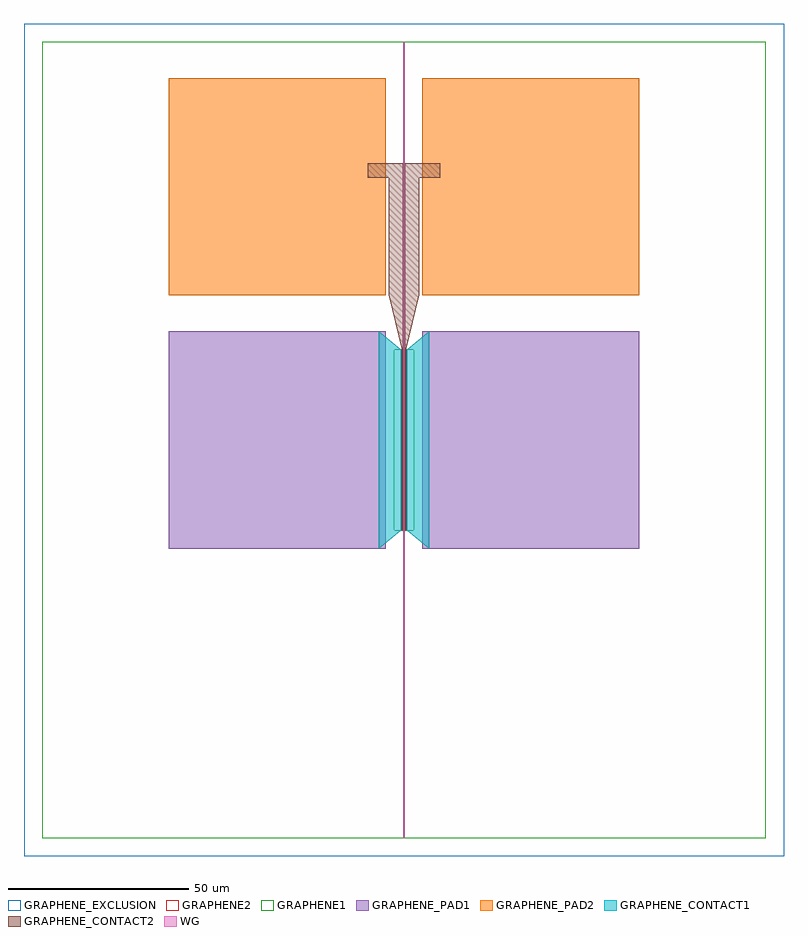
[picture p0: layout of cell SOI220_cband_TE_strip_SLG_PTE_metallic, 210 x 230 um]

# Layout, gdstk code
import gdstk
lib = gdstk.Library(unit=1e-6, precision=1e-09)
def R(c, l, rs):  # rectangles x0, y0, x1, y1
    for r in rs: c.add(gdstk.rectangle(r[:2], r[2:], *l))
def P(c, l, *ps):  # polygons
    for p in ps: c.add(gdstk.Polygon(p, *l))
WG = (3, 0)
GRAPHENE1 = (161, 2)
GRAPHENE2 = (162, 2)
GRAPHENE_CONTACT1 = (163, 2)
GRAPHENE_CONTACT2 = (164, 2)
GRAPHENE_PAD1 = (165, 2)
GRAPHENE_PAD2 = (166, 2)
GRAPHENE_EXCLUSION = (169, 1)

soi220_cband_te_strip_sl = lib.new_cell('SOI220_cband_TE_strip_SLG_PTE_metallic')
R(soi220_cband_te_strip_sl, WG, [(-0.225,-110,0.225,110)])
P(soi220_cband_te_strip_sl, GRAPHENE1, [(-100,-110),(-100,25),(-2.75,25),(-2.75,-25),(2.75,-25),(2.75,25),(-100,25),(-100,110),(100,110),(100,-110)])
P(soi220_cband_te_strip_sl, GRAPHENE2, [(-100,-110),(-100,25),(-0.675,25),(-0.675,-25),(-0.25,-25),(-0.25,25),(0.25,25),(0.25,-25),(0.675,-25),(0.675,25),(-100,25),(-100,110),(100,110),(100,-110)])
P(soi220_cband_te_strip_sl, GRAPHENE_CONTACT1, [(7,-30),(0.75,-25),(0.75,25),(7,30)],
  [(-7,-30),(-7,30),(-0.75,25),(-0.75,-25)])
R(soi220_cband_te_strip_sl, GRAPHENE_CONTACT2, [(-0.675,-25,-0.25,25.2), (0.25,-25,0.675,25.2)])
P(soi220_cband_te_strip_sl, GRAPHENE_CONTACT2, [(0.25,40.2),(0.25,76.45),(10,76.45),(10,72.45),(4.25,72.45),(4.25,40.2)],
  [(-0.675,25.2),(-4.25,40.2),(-0.25,40.2),(-0.25,25.2)],
  [(-4.25,40.2),(-4.25,72.45),(-10,72.45),(-10,76.45),(-0.25,76.45),(-0.25,40.2)],
  [(0.25,25.2),(0.25,40.2),(4.25,40.2),(0.675,25.2)])
R(soi220_cband_te_strip_sl, GRAPHENE_PAD1, [(-65,-30,-5,30), (5,-30,65,30)])
R(soi220_cband_te_strip_sl, GRAPHENE_PAD2, [(-65,40,-5,100), (5,40,65,100)])
R(soi220_cband_te_strip_sl, GRAPHENE_EXCLUSION, [(-105,-115,105,115)])

lib.write_gds('SOI220_cband_TE_strip_SLG_PTE_metallic.gds')
